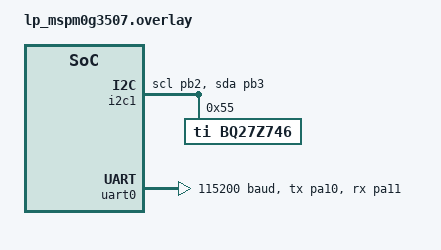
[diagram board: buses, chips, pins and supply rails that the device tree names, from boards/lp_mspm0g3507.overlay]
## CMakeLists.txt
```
# SPDX-License-Identifier: Apache-2.0

cmake_minimum_required(VERSION 3.20.0)

find_package(Zephyr REQUIRED HINTS $ENV{ZEPHYR_BASE})
project(i2c_functional_test)

target_sources(app PRIVATE src/main.c)
```

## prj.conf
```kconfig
CONFIG_I2C=y
CONFIG_FUEL_GAUGE=y
CONFIG_SERIAL=y
```

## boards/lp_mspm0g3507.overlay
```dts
&i2c1_scl_pb2 {
	input-enable;
};

&i2c1_sda_pb3 {
	input-enable;
};

&i2c1 {
	pinctrl-0 = <&i2c1_scl_pb2 &i2c1_sda_pb3>;
	pinctrl-names = "default";
	merge-buf-size = <64>;
	status = "okay";

	bq27z746: bq27z746@55 {
		compatible = "ti,bq27z746";
		reg = <0x55>;
	};
};

&uart0 {
	current-speed = <115200>;
	clocks = <&ckm MSPM0_CLOCK_ULPCLK>;
	pinctrl-0 = <&uart0_tx_pa10 &uart0_rx_pa11>;
    status = "okay";
};
```

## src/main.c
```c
/*
 * Copyright (c) 2025 Texas Instruments
 *
 * SPDX-License-Identifier: Apache-2.0
 */

#include <zephyr/kernel.h>
#include <zephyr/sys/printk.h>
#include <zephyr/drivers/i2c.h>
#include <zephyr/drivers/fuel_gauge.h>

#define STACKSIZE 2048
#define PRIORITY 7

const struct device *const fuel_gauge = DEVICE_DT_GET_ONE(ti_bq27z746);
K_MUTEX_DEFINE(i2c_mutex);
K_MUTEX_DEFINE(serial_mutex);

void read_bq27Z746_current()
{
	union fuel_gauge_prop_val prop;
	
	while(1) {
		k_mutex_lock(&i2c_mutex, K_FOREVER);
		fuel_gauge_get_prop(fuel_gauge, FUEL_GAUGE_AVG_CURRENT, &prop);
		k_mutex_unlock(&i2c_mutex);

		k_mutex_lock(&serial_mutex, K_FOREVER);
		printk("Current reading: %d mA\n", prop.avg_current);
		k_mutex_unlock(&serial_mutex);

		k_msleep(500);
	}
}

void read_bq27Z746_voltage()
{
	union fuel_gauge_prop_val prop;
	while(1) {
		k_mutex_lock(&i2c_mutex, K_FOREVER);
		fuel_gauge_get_prop(fuel_gauge, FUEL_GAUGE_VOLTAGE, &prop);
		k_mutex_unlock(&i2c_mutex);

		k_mutex_lock(&serial_mutex, K_FOREVER);
		printk("Voltage reading: %d mV\n", prop.voltage);
		k_mutex_unlock(&serial_mutex);

		k_msleep(500);
	}
}

K_THREAD_DEFINE(read_bq27Z746_current_id, STACKSIZE, read_bq27Z746_current, NULL, NULL, NULL,
		PRIORITY, 0, 0);
K_THREAD_DEFINE(read_bq27Z746_voltage_id, STACKSIZE, read_bq27Z746_voltage, NULL, NULL, NULL,
		PRIORITY, 0, 0);
```
